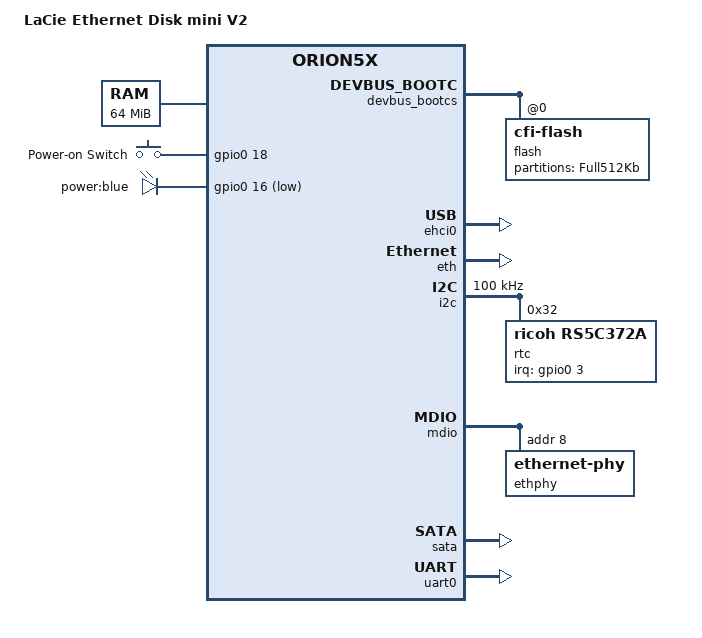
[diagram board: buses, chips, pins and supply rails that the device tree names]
/*
 * Copyright (C) 2012 Thomas Petazzoni <thomas.petazzoni@free-electrons.com>
 *
 * This file is licensed under the terms of the GNU General Public
 * License version 2. This program is licensed "as is" without any
 * warranty of any kind, whether express or implied.
 */

/*
 * TODO: add Orion USB device port init when kernel.org support is added.
 * TODO: add flash write support: see below.
 * TODO: add power-off support.
 * TODO: add I2C EEPROM support.
 */

/dts-v1/;

#include <dt-bindings/gpio/gpio.h>
#include <dt-bindings/input/input.h>
#include <dt-bindings/interrupt-controller/irq.h>
#include "orion5x-mv88f5182.dtsi"

/ {
	model = "LaCie Ethernet Disk mini V2";
	compatible = "lacie,ethernet-disk-mini-v2", "marvell,orion5x-88f5182", "marvell,orion5x";

	memory {
		reg = <0x00000000 0x4000000>; /* 64 MB */
	};

	chosen {
		bootargs = "console=ttyS0,115200n8 earlyprintk";
		stdout-path = &uart0;
	};

	soc {
		ranges = <MBUS_ID(0xf0, 0x01) 0 0xf1000000 0x100000>,
			 <MBUS_ID(0x09, 0x00) 0 0xf2200000 0x800>,
			 <MBUS_ID(0x01, 0x0f) 0 0xfff80000 0x80000>;
	};

	gpio-keys {
		compatible = "gpio-keys";
		pinctrl-0 = <&pmx_power_button>;
		pinctrl-names = "default";
		#address-cells = <1>;
		#size-cells = <0>;
		button@1 {
			label = "Power-on Switch";
			linux,code = <KEY_POWER>;
			gpios = <&gpio0 18 GPIO_ACTIVE_HIGH>;
		};
	};

	gpio-leds {
		compatible = "gpio-leds";
		pinctrl-0 = <&pmx_power_led>;
		pinctrl-names = "default";

		led@1 {
			label = "power:blue";
			gpios = <&gpio0 16 GPIO_ACTIVE_LOW>;
		};
	};
};

&devbus_bootcs {
	status = "okay";

	/* Read parameters */
	devbus,bus-width    = <8>;
	devbus,turn-off-ps  = <90000>;
	devbus,badr-skew-ps = <0>;
	devbus,acc-first-ps = <186000>;
	devbus,acc-next-ps  = <186000>;

	/* Write parameters */
	devbus,wr-high-ps  = <90000>;
	devbus,wr-low-ps   = <90000>;
	devbus,ale-wr-ps   = <90000>;

	/*
	 * Currently the MTD code does not recognize the MX29LV400CBCT
	 * as a bottom-type device. This could cause risks of
	 * accidentally erasing critical flash sectors. We thus define
	 * a single, write-protected partition covering the whole
	 * flash.  TODO: once the flash part TOP/BOTTOM detection
	 * issue is sorted out in the MTD code, break this into at
	 * least three partitions: 'u-boot code', 'u-boot environment'
	 * and 'whatever is left'.
	 */
	flash@0 {
		compatible = "cfi-flash";
		reg = <0 0x80000>;
		bank-width = <1>;
		#address-cells = <1>;
		#size-cells = <1>;

		partition@0 {
			label = "Full512Kb";
			reg = <0 0x80000>;
			read-only;
		};
	};
};

&ehci0 {
	status = "okay";
};

&eth {
	status = "okay";

	ethernet-port@0 {
		phy-handle = <&ethphy>;
	};
};

&i2c {
	status = "okay";
	clock-frequency = <100000>;
	#address-cells = <1>;

	rtc@32 {
		compatible = "ricoh,rs5c372a";
		reg = <0x32>;
		interrupt-parent = <&gpio0>;
		interrupts = <3 IRQ_TYPE_LEVEL_LOW>;
	};
};

&mdio {
	status = "okay";

	ethphy: ethernet-phy {
		reg = <8>;
	};
};

&pinctrl {
	pinctrl-0 = <&pmx_rtc &pmx_power_led_ctrl>;
	pinctrl-names = "default";

	pmx_power_button: pmx-power-button {
		marvell,pins = "mpp18";
		marvell,function = "gpio";
	};

	pmx_power_led: pmx-power-led {
		marvell,pins = "mpp16";
		marvell,function = "gpio";
	};

	pmx_power_led_ctrl: pmx-power-led-ctrl {
		marvell,pins = "mpp17";
		marvell,function = "gpio";
	};

	pmx_rtc: pmx-rtc {
		marvell,pins = "mpp3";
		marvell,function = "gpio";
	};
};

&sata {
	pinctrl-0 = <&pmx_sata0 &pmx_sata1>;
	pinctrl-names = "default";
	status = "okay";
	nr-ports = <2>;
};

&uart0 {
	status = "okay";
};
